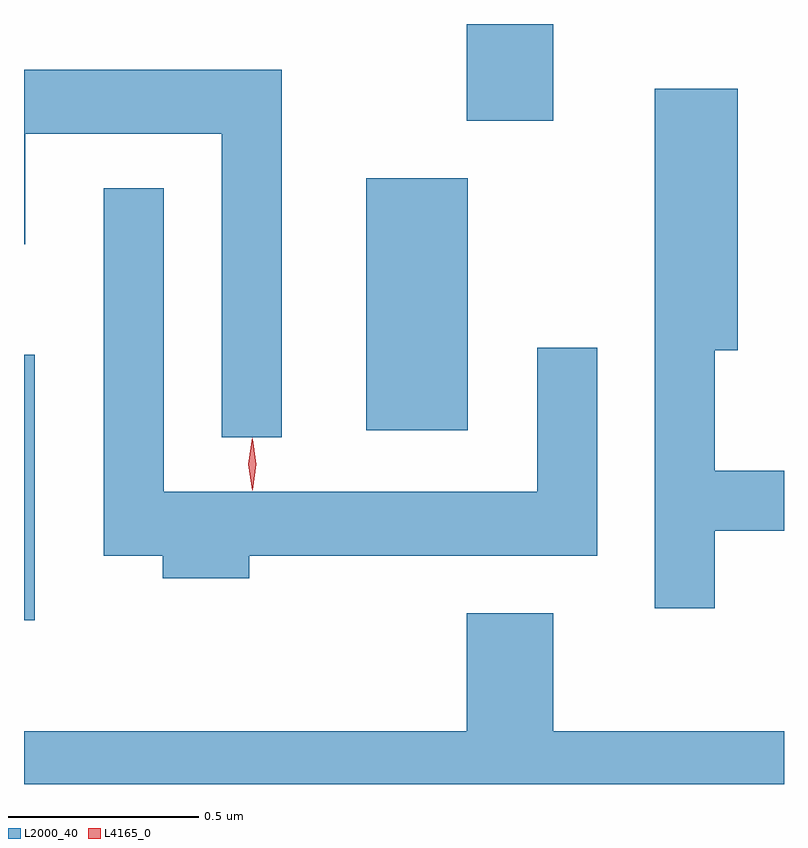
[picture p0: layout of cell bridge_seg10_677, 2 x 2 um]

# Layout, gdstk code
import gdstk
lib = gdstk.Library(unit=1e-6, precision=1e-09)
def R(c, l, rs):  # rectangles x0, y0, x1, y1
    for r in rs: c.add(gdstk.rectangle(r[:2], r[2:], *l))
def P(c, l, *ps):  # polygons
    for p in ps: c.add(gdstk.Polygon(p, *l))
L2000_40 = (2000, 40)
L4165_0 = (4165, 0)

bridge_seg10_677 = lib.new_cell('bridge_seg10_677')
R(bridge_seg10_677, L2000_40, [(1042.416,2125.576,1042.444,2126.274), (1043.316,2126.076,1043.584,2126.739), (1043.581,2126.891,1043.809,2127.145)])
P(bridge_seg10_677, L2000_40, [(1043.094,2127.024),(1042.416,2127.024),(1042.416,2126.566),(1042.419,2126.566),(1042.419,2126.856),(1042.936,2126.856),(1042.936,2126.058),(1043.094,2126.058)],
  [(1044.234,2125.811),(1044.416,2125.811),(1044.416,2125.969),(1044.234,2125.969),(1044.234,2126.286),(1044.294,2126.286),(1044.294,2126.974),(1044.076,2126.974),(1044.076,2125.608),(1044.234,2125.608)],
  [(1043.009,2125.746),(1043.924,2125.746),(1043.924,2126.293),(1043.766,2126.293),(1043.766,2125.914),(1042.784,2125.914),(1042.784,2126.713),(1042.626,2126.713),(1042.626,2125.746),(1042.781,2125.746),(1042.781,2125.686),(1043.009,2125.686)],
  [(1044.416,2125.284),(1043.809,2125.284),(1043.809,2125.594),(1043.581,2125.594),(1043.581,2125.284),(1042.416,2125.284),(1042.416,2125.145),(1044.416,2125.145)])
P(bridge_seg10_677, L4165_0, [(1043.016,2125.917),(1043.016,2125.918),(1043.006,2125.987),(1043.016,2126.056),(1043.016,2126.056),(1043.017,2126.056),(1043.026,2125.987),(1043.017,2125.918)],
  [(1043.017,2125.919),(1043.017,2125.92),(1043.007,2125.986),(1043.017,2126.052),(1043.017,2126.053),(1043.018,2126.052),(1043.027,2125.986),(1043.018,2125.92)])

lib.write_gds('bridge_seg10_677.gds')
